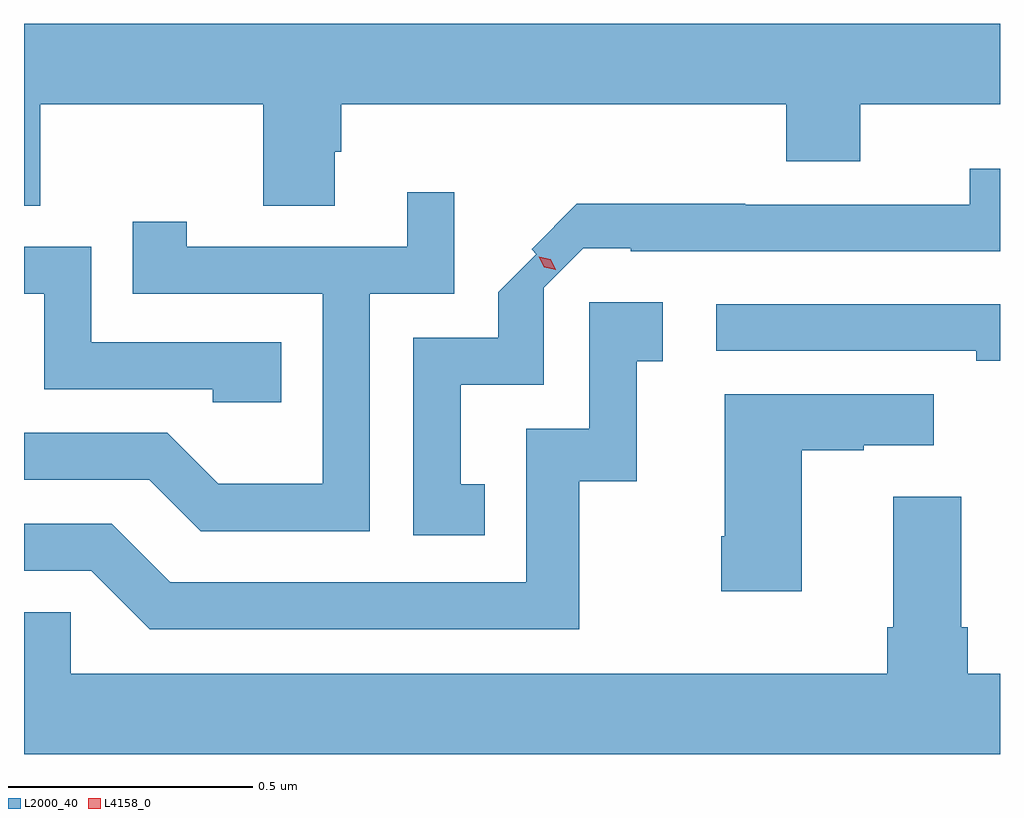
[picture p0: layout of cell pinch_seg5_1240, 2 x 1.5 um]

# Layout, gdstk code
import gdstk
lib = gdstk.Library(unit=1e-6, precision=1e-09)
def P(c, l, *ps):  # polygons
    for p in ps: c.add(gdstk.Polygon(p, *l))
L2000_40 = (2000, 40)
L4158_0 = (4158, 0)

pinch_seg5_1240 = lib.new_cell('pinch_seg5_1240')
P(pinch_seg5_1240, L2000_40, [(527.799,898.052),(528.256,898.052),(528.256,897.844),(528.403,897.844),(528.403,897.954),(528.416,897.954),(528.416,898.052),(529.328,898.052),(529.328,897.935),(529.48,897.935),(529.48,898.052),(529.766,898.052),(529.766,898.216),(527.766,898.216),(527.766,897.844),(527.799,897.844)],
  [(528.71,897.273),(528.661,897.273),(528.661,897.477),(528.831,897.477),(528.831,897.675),(528.912,897.756),(529.009,897.756),(529.009,897.75),(529.766,897.75),(529.766,897.919),(529.704,897.919),(529.704,897.846),(529.244,897.846),(529.244,897.848),(528.899,897.848),(528.806,897.754),(528.816,897.744),(528.738,897.666),(528.738,897.573),(528.564,897.573),(528.564,897.168),(528.71,897.168)],
  [(528.474,897.663),(528.648,897.663),(528.648,897.871),(528.551,897.871),(528.551,897.759),(528.1,897.759),(528.1,897.811),(527.989,897.811),(527.989,897.663),(528.378,897.663),(528.378,897.274),(528.164,897.274),(528.06,897.378),(527.766,897.378),(527.766,897.282),(528.023,897.282),(528.128,897.177),(528.474,897.177)],
  [(528.293,897.564),(527.904,897.564),(527.904,897.759),(527.766,897.759),(527.766,897.663),(527.808,897.663),(527.808,897.468),(528.153,897.468),(528.153,897.441),(528.293,897.441)],
  [(528.904,897.279),(529.022,897.279),(529.022,897.525),(529.075,897.525),(529.075,897.646),(528.924,897.646),(528.924,897.387),(528.795,897.387),(528.795,897.072),(528.066,897.072),(527.946,897.192),(527.766,897.192),(527.766,897.096),(527.904,897.096),(528.024,896.976),(528.904,896.976)],
  [(529.766,897.642),(529.185,897.642),(529.185,897.546),(529.717,897.546),(529.717,897.526),(529.766,897.526)],
  [(529.36,897.343),(529.487,897.343),(529.487,897.353),(529.63,897.353),(529.63,897.457),(529.202,897.457),(529.202,897.166),(529.195,897.166),(529.195,897.054),(529.36,897.054)],
  [(529.766,896.884),(529.7,896.884),(529.7,896.98),(529.687,896.98),(529.687,897.247),(529.547,897.247),(529.547,896.98),(529.535,896.98),(529.535,896.884),(527.862,896.884),(527.862,897.011),(527.766,897.011),(527.766,896.72),(529.766,896.72)])
P(pinch_seg5_1240, L4158_0, [(528.855,897.712),(528.832,897.718),(528.821,897.739),(528.821,897.739),(528.822,897.739),(528.845,897.734),(528.856,897.713),(528.856,897.712)])

lib.write_gds('pinch_seg5_1240.gds')
